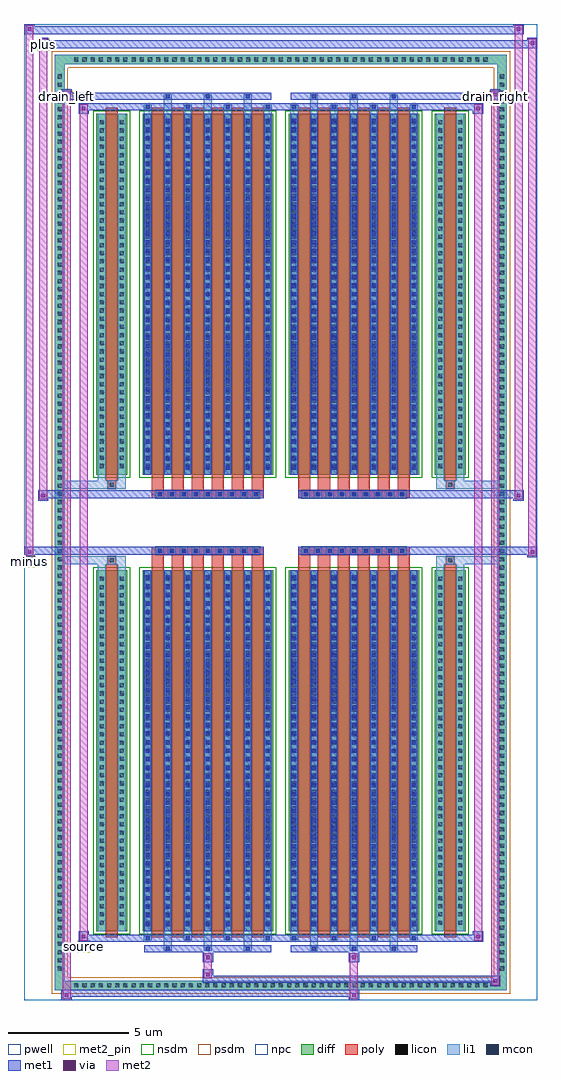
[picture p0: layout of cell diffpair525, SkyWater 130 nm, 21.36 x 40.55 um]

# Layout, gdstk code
import gdstk
lib = gdstk.Library(unit=1e-6, precision=5e-09)
def R(c, l, rs):  # rectangles x0, y0, x1, y1
    for r in rs: c.add(gdstk.rectangle(r[:2], r[2:], *l))
def A(c, l, x, y, w, h, nx, ny, dx, dy):  # array of equal rectangles
    R(c, l, [(x+i*dx, y+j*dy, x+i*dx+w, y+j*dy+h) for i in range(nx) for j in range(ny)])
def P(c, l, *ps):  # polygons
    for p in ps: c.add(gdstk.Polygon(p, *l))
pwell = (64, 44)
diff = (65, 20)
poly = (66, 20)
licon = (66, 44)
li1 = (67, 20)
mcon = (67, 44)
met1 = (68, 20)
via = (68, 44)
met2_pin = (69, 16)
met2 = (69, 20)
nsdm = (93, 44)
psdm = (94, 20)
npc = (95, 20)

diffpair525 = lib.new_cell('diffpair525')
R(diffpair525, pwell, [(-10.66,-19.84,10.66,20.71), (-7.98,-18.03,-0.01,-0.805), (0.01,-18.03,7.98,-0.805), (-7.98,0.805,-0.01,18.03), (0.01,0.805,7.98,18.03)])
A(diffpair525, diff, -8.705, -19.44, 0.41, 0.41, 51, 2, 0.34, 38.47)
A(diffpair525, diff, -9.39, -18.735, 0.41, 0.41, 1, 110, 0, 0.34)
A(diffpair525, diff, 8.98, -18.735, 0.41, 0.41, 1, 110, 0, 0.34)
R(diffpair525, diff, [(-8.705,-19.44,8.705,-19.03), (-9.39,-18.735,-8.98,18.735), (8.98,-18.735,9.39,18.735), (-7.67,-16.985,-6.39,-1.985), (-5.75,-16.985,-0.32,-1.985), (0.32,-16.985,5.75,-1.985), (6.39,-16.985,7.67,-1.985), (-7.67,1.985,-6.39,16.985), (-5.75,1.985,-0.32,16.985), (0.32,1.985,5.75,16.985), (6.39,1.985,7.67,16.985), (-8.705,19.03,8.705,19.44)])
P(diffpair525, diff, [(9.39,19.44),(-9.39,19.44),(-9.39,-19.03),(-8.98,-19.03),(-8.98,19.03),(8.98,19.03),(8.98,-19.03),(-8.98,-19.03),(-9.39,-19.03),(-9.39,-19.44),(9.39,-19.44)])
A(diffpair525, poly, -5.36, -17.235, 0.5, 15.5, 6, 2, 0.83, 18.97)
A(diffpair525, poly, 0.71, -17.235, 0.5, 15.5, 6, 2, 0.83, 18.97)
A(diffpair525, poly, -5.36, -1.735, 0.5, 0.4, 6, 2, 0.83, 3.07)
A(diffpair525, poly, 0.71, -1.735, 0.5, 0.4, 6, 2, 0.83, 3.07)
A(diffpair525, poly, -5.2, -1.335, 0.33, 0.33, 9, 2, 0.5, 2.34)
A(diffpair525, poly, 0.87, -1.335, 0.33, 0.33, 9, 2, 0.5, 2.34)
R(diffpair525, poly, [(-7.28,-17.235,-6.78,-1.735), (6.78,-17.235,7.28,-1.735), (-7.195,-1.735,-6.865,-1.405), (-7.195,-1.735,-6.865,-1.405), (6.865,-1.735,7.195,-1.405), (6.865,-1.735,7.195,-1.405), (-5.36,-1.335,-0.71,-1.005), (0.71,-1.335,5.36,-1.005), (-5.36,1.005,-0.71,1.335), (0.71,1.005,5.36,1.335), (-7.195,1.405,-6.865,1.735), (-7.195,1.405,-6.865,1.735), (6.865,1.405,7.195,1.735), (6.865,1.405,7.195,1.735), (-7.28,1.735,-6.78,17.235), (6.78,1.735,7.28,17.235)])
A(diffpair525, licon, -8.585, -19.32, 0.17, 0.17, 51, 2, 0.34, 38.47)
A(diffpair525, licon, -9.27, -18.615, 0.17, 0.17, 1, 110, 0, 0.34)
A(diffpair525, licon, 9.1, -18.615, 0.17, 0.17, 1, 110, 0, 0.34)
A(diffpair525, licon, -7.53, -16.71, 0.17, 0.17, 1, 43, 0, 0.34)
A(diffpair525, licon, -6.7, -16.71, 0.17, 0.17, 1, 43, 0, 0.34)
A(diffpair525, licon, -5.61, -16.71, 0.17, 0.17, 7, 43, 0.83, 0.34)
A(diffpair525, licon, 0.46, -16.71, 0.17, 0.17, 7, 43, 0.83, 0.34)
A(diffpair525, licon, 6.53, -16.71, 0.17, 0.17, 1, 43, 0, 0.34)
A(diffpair525, licon, 7.36, -16.71, 0.17, 0.17, 1, 43, 0, 0.34)
A(diffpair525, licon, -5.12, -1.255, 0.17, 0.17, 9, 2, 0.5, 2.34)
A(diffpair525, licon, 0.95, -1.255, 0.17, 0.17, 9, 2, 0.5, 2.34)
A(diffpair525, licon, -7.53, 2.26, 0.17, 0.17, 1, 43, 0, 0.34)
A(diffpair525, licon, -6.7, 2.26, 0.17, 0.17, 1, 43, 0, 0.34)
A(diffpair525, licon, -5.61, 2.26, 0.17, 0.17, 7, 43, 0.83, 0.34)
A(diffpair525, licon, 0.46, 2.26, 0.17, 0.17, 7, 43, 0.83, 0.34)
A(diffpair525, licon, 6.53, 2.26, 0.17, 0.17, 1, 43, 0, 0.34)
A(diffpair525, licon, 7.36, 2.26, 0.17, 0.17, 1, 43, 0, 0.34)
R(diffpair525, licon, [(-7.115,-1.655,-6.945,-1.485), (6.945,-1.655,7.115,-1.485), (-7.115,1.485,-6.945,1.655), (6.945,1.485,7.115,1.655)])
A(diffpair525, li1, -8.665, -19.4, 0.33, 0.33, 51, 2, 0.34, 38.47)
A(diffpair525, li1, -9.35, -18.695, 0.33, 0.33, 1, 110, 0, 0.34)
A(diffpair525, li1, 9.02, -18.695, 0.33, 0.33, 1, 110, 0, 0.34)
A(diffpair525, li1, -4.86, -17.79, 0.33, 0.805, 3, 2, 1.66, 34.775)
A(diffpair525, li1, -4.78, -17.79, 0.17, 0.17, 3, 2, 1.66, 35.41)
A(diffpair525, li1, 1.21, -17.79, 0.33, 0.805, 3, 2, 1.66, 34.775)
A(diffpair525, li1, 1.29, -17.79, 0.17, 0.17, 3, 2, 1.66, 35.41)
A(diffpair525, li1, -5.69, -17.36, 0.33, 0.375, 4, 2, 1.66, 34.345)
A(diffpair525, li1, -5.61, -17.36, 0.17, 0.17, 4, 2, 1.66, 34.55)
A(diffpair525, li1, 0.38, -17.36, 0.33, 0.375, 4, 2, 1.66, 34.345)
A(diffpair525, li1, 0.46, -17.36, 0.17, 0.17, 4, 2, 1.66, 34.55)
A(diffpair525, li1, -5.69, -16.985, 0.33, 15, 7, 2, 0.83, 18.97)
A(diffpair525, li1, 0.38, -16.985, 0.33, 15, 7, 2, 0.83, 18.97)
A(diffpair525, li1, -7.61, -16.79, 0.33, 0.33, 1, 43, 0, 0.34)
A(diffpair525, li1, -6.78, -16.79, 0.33, 0.33, 1, 43, 0, 0.34)
A(diffpair525, li1, -5.69, -16.79, 0.33, 0.33, 7, 43, 0.83, 0.34)
A(diffpair525, li1, 0.38, -16.79, 0.33, 0.33, 7, 43, 0.83, 0.34)
A(diffpair525, li1, 6.45, -16.79, 0.33, 0.33, 1, 43, 0, 0.34)
A(diffpair525, li1, 7.28, -16.79, 0.33, 0.33, 1, 43, 0, 0.34)
A(diffpair525, li1, -5.61, -16.77, 0.17, 0.17, 7, 41, 0.83, 0.36)
A(diffpair525, li1, -5.61, -16.77, 0.17, 14.57, 7, 2, 0.83, 18.97)
A(diffpair525, li1, 0.46, -16.77, 0.17, 0.17, 7, 41, 0.83, 0.36)
A(diffpair525, li1, 0.46, -16.77, 0.17, 14.57, 7, 2, 0.83, 18.97)
A(diffpair525, li1, -5.2, -1.335, 0.33, 0.33, 9, 2, 0.5, 2.34)
A(diffpair525, li1, 0.87, -1.335, 0.33, 0.33, 9, 2, 0.5, 2.34)
A(diffpair525, li1, -7.61, 2.18, 0.33, 0.33, 1, 43, 0, 0.34)
A(diffpair525, li1, -6.78, 2.18, 0.33, 0.33, 1, 43, 0, 0.34)
A(diffpair525, li1, -5.69, 2.18, 0.33, 0.33, 7, 43, 0.83, 0.34)
A(diffpair525, li1, 0.38, 2.18, 0.33, 0.33, 7, 43, 0.83, 0.34)
A(diffpair525, li1, 6.45, 2.18, 0.33, 0.33, 1, 43, 0, 0.34)
A(diffpair525, li1, 7.28, 2.18, 0.33, 0.33, 1, 43, 0, 0.34)
A(diffpair525, li1, -5.61, 2.2, 0.17, 0.17, 7, 41, 0.83, 0.36)
A(diffpair525, li1, 0.46, 2.2, 0.17, 0.17, 7, 41, 0.83, 0.36)
R(diffpair525, li1, [(-9.39,-19.44,-8.98,-19.03), (-9.39,-19.44,-8.98,-19.03), (-8.98,-19.44,8.98,-19.03), (8.98,-19.44,9.39,-19.03), (8.98,-19.44,9.39,-19.03), (-9.39,-19.03,-8.98,19.03), (8.98,-19.03,9.39,19.03), (-7.61,-16.985,-7.28,-1.985), (-6.78,-16.985,-6.45,-1.985), (6.45,-16.985,6.78,-1.985), (7.28,-16.985,7.61,-1.985), (-7.61,-1.985,-7.28,-1.405), (-6.78,-1.985,-6.45,-1.405), (6.45,-1.985,6.78,-1.405), (7.28,-1.985,7.61,-1.405), (-9.39,-1.735,-7.195,-1.405), (-7.61,-1.735,-7.195,-1.405), (-7.195,-1.735,-6.865,-1.405), (-6.865,-1.735,-6.45,-1.405), (6.45,-1.735,6.865,-1.405), (6.865,-1.735,7.195,-1.405), (6.865,-1.735,9.39,-1.405), (7.195,-1.735,7.61,-1.405), (-9.39,1.405,-7.195,1.735), (-7.61,1.405,-7.195,1.735), (-7.61,1.405,-7.28,1.985), (-7.195,1.405,-6.865,1.735), (-6.865,1.405,-6.45,1.735), (-6.78,1.405,-6.45,1.985), (6.45,1.405,6.865,1.735), (6.45,1.405,6.78,1.985), (6.865,1.405,7.195,1.735), (6.865,1.405,9.39,1.735), (7.195,1.405,7.61,1.735), (7.28,1.405,7.61,1.985), (-7.61,1.985,-7.28,16.985), (-6.78,1.985,-6.45,16.985), (6.45,1.985,6.78,16.985), (7.28,1.985,7.61,16.985), (-9.39,19.03,-8.98,19.44), (-9.39,19.03,-8.98,19.44), (-8.98,19.03,8.98,19.44), (8.98,19.03,9.39,19.44), (8.98,19.03,9.39,19.44)])
A(diffpair525, mcon, -4.78, -17.79, 0.17, 0.17, 3, 2, 1.66, 35.41)
A(diffpair525, mcon, 1.29, -17.79, 0.17, 0.17, 3, 2, 1.66, 35.41)
A(diffpair525, mcon, -5.61, -17.36, 0.17, 0.17, 4, 2, 1.66, 34.55)
A(diffpair525, mcon, 0.46, -17.36, 0.17, 0.17, 4, 2, 1.66, 34.55)
A(diffpair525, mcon, -5.61, -16.77, 0.17, 0.17, 7, 41, 0.83, 0.36)
A(diffpair525, mcon, 0.46, -16.77, 0.17, 0.17, 7, 41, 0.83, 0.36)
A(diffpair525, mcon, -5.12, -1.255, 0.17, 0.17, 9, 2, 0.5, 2.34)
A(diffpair525, mcon, 0.95, -1.255, 0.17, 0.17, 9, 2, 0.5, 2.34)
A(diffpair525, mcon, -5.61, 2.2, 0.17, 0.17, 7, 41, 0.83, 0.36)
A(diffpair525, mcon, 0.46, 2.2, 0.17, 0.17, 7, 41, 0.83, 0.36)
A(diffpair525, met1, -4.84, -17.85, 0.29, 0.29, 3, 2, 1.66, 35.41)
A(diffpair525, met1, 1.23, -17.85, 0.29, 0.29, 3, 2, 1.66, 35.41)
A(diffpair525, met1, -5.67, -17.42, 0.29, 0.29, 4, 2, 1.66, 34.55)
A(diffpair525, met1, 0.4, -17.42, 0.29, 0.29, 4, 2, 1.66, 34.55)
A(diffpair525, met1, -5.67, -16.985, 0.29, 15, 7, 2, 0.83, 18.97)
A(diffpair525, met1, 0.4, -16.985, 0.29, 15, 7, 2, 0.83, 18.97)
A(diffpair525, met1, -5.67, -16.83, 0.29, 0.29, 7, 41, 0.83, 0.36)
A(diffpair525, met1, 0.4, -16.83, 0.29, 0.29, 7, 41, 0.83, 0.36)
A(diffpair525, met1, -5.18, -1.315, 0.29, 0.29, 9, 2, 0.5, 2.34)
A(diffpair525, met1, 0.89, -1.315, 0.29, 0.29, 9, 2, 0.5, 2.34)
A(diffpair525, met1, -5.67, 2.14, 0.29, 0.29, 7, 41, 0.83, 0.36)
A(diffpair525, met1, 0.4, 2.14, 0.29, 0.29, 7, 41, 0.83, 0.36)
R(diffpair525, met1, [(-9.12,-19.84,-8.69,-19.41), (2.82,-19.84,3.25,-19.41), (-9.12,-19.7,3.25,-19.41), (8.69,-19.27,9.12,-18.84), (-3.25,-19.13,9.12,-18.84), (-3.25,-18.99,-2.82,-18.56), (-3.25,-18.28,-2.82,-17.85), (2.82,-18.28,3.25,-17.85), (-5.67,-17.85,-0.4,-17.56), (0.4,-17.85,5.67,-17.56), (-8.41,-17.42,-7.98,-16.99), (-8.41,-17.42,-5.67,-17.13), (-5.67,-17.42,-0.4,-17.13), (-0.4,-17.42,0.4,-17.13), (0.4,-17.42,5.67,-17.13), (5.67,-17.42,8.41,-17.13), (7.98,-17.42,8.41,-16.99), (-10.66,-1.435,-10.23,-1.005), (10.23,-1.435,10.66,-1.005), (-10.66,-1.335,-0.71,-1.005), (-5.36,-1.335,-0.71,-1.005), (0.71,-1.335,5.36,-1.005), (0.71,-1.335,10.66,-1.005), (-10.09,0.905,-9.66,1.335), (9.66,0.905,10.09,1.335), (-10.09,1.005,-5.36,1.335), (-5.36,1.005,-0.71,1.335), (0.71,1.005,5.36,1.335), (5.36,1.005,10.09,1.335), (-8.41,16.99,-7.98,17.42), (7.98,16.99,8.41,17.42), (-8.41,17.13,-5.67,17.42), (-5.67,17.13,-0.4,17.42), (-0.4,17.13,0.4,17.42), (0.4,17.13,5.67,17.42), (5.67,17.13,8.41,17.42), (-9.12,17.56,-8.69,17.99), (-9.12,17.56,-5.67,17.85), (-5.67,17.56,-0.4,17.85), (0.4,17.56,5.67,17.85), (5.67,17.56,9.12,17.85), (8.69,17.56,9.12,17.99), (-10.09,19.71,-9.66,20.14), (-10.09,19.71,-7.98,20.04), (-7.98,19.71,7.98,20.04), (7.98,19.71,10.66,20.04), (10.23,19.71,10.66,20.14), (-10.66,20.28,-10.23,20.71), (-10.66,20.28,-7.98,20.61), (-7.98,20.28,7.98,20.61), (7.98,20.28,10.09,20.61), (9.66,20.28,10.09,20.71)])
R(diffpair525, via, [(-8.98,-19.7,-8.83,-19.55), (2.96,-19.7,3.11,-19.55), (8.83,-19.13,8.98,-18.98), (-3.11,-18.85,-2.96,-18.7), (-3.11,-18.14,-2.96,-17.99), (2.96,-18.14,3.11,-17.99), (-8.27,-17.28,-8.12,-17.13), (8.12,-17.28,8.27,-17.13), (-10.52,-1.295,-10.37,-1.145), (10.37,-1.295,10.52,-1.145), (-9.95,1.045,-9.8,1.195), (9.8,1.045,9.95,1.195), (-8.27,17.13,-8.12,17.28), (8.12,17.13,8.27,17.28), (-8.98,17.7,-8.83,17.85), (8.83,17.7,8.98,17.85), (-9.95,19.85,-9.8,20), (10.37,19.85,10.52,20), (-10.52,20.42,-10.37,20.57), (9.8,20.42,9.95,20.57)])
R(diffpair525, met2_pin, [(-8.445,-17.87,-7.945,-17.37), (-10.695,-1.885,-10.195,-1.385), (-9.155,17.44,-8.655,17.94), (8.655,17.44,9.155,17.94), (-10.125,19.59,-9.625,20.09)])
R(diffpair525, met2, [(-9.07,-19.79,-8.74,-19.46), (-9.07,-19.79,-8.74,17.94), (2.87,-19.79,3.2,-19.46), (2.87,-19.46,3.2,-18.23), (8.74,-19.22,9.07,-18.89), (8.74,-19.22,9.07,17.94), (-3.2,-18.94,-2.87,-18.61), (-3.2,-18.61,-2.87,-18.23), (-3.2,-18.23,-2.87,-17.9), (2.87,-18.23,3.2,-17.9), (-8.36,-17.37,-8.03,-17.04), (-8.36,-17.37,-8.03,17.37), (8.03,-17.37,8.36,-17.04), (8.03,-17.37,8.36,17.37), (-10.61,-1.385,-10.28,-1.055), (-10.61,-1.385,-10.28,20.66), (10.28,-1.385,10.61,-1.055), (10.28,-1.385,10.61,20.09), (-10.04,0.955,-9.71,1.285), (-10.04,0.955,-9.71,20.09), (9.71,0.955,10.04,1.285), (9.71,0.955,10.04,20.66), (-8.36,17.04,-8.03,17.37), (8.03,17.04,8.36,17.37), (-9.07,17.61,-8.74,17.94), (8.74,17.61,9.07,17.94), (-10.04,19.76,-9.71,20.09), (10.28,19.76,10.61,20.09), (-10.61,20.33,-10.28,20.66), (9.71,20.33,10.04,20.66)])
P(diffpair525, met2, [(10.61,-1.385),(10.61,-1.385),(10.61,-1.055),(10.61,-1.055)],
  [(10.61,19.76),(10.61,19.76),(10.61,20.09),(10.61,20.09)],
  [(-10.28,-1.385),(-10.28,-1.385),(-10.28,-1.055),(-10.28,-1.055)],
  [(-10.28,20.33),(-10.28,20.33),(-10.28,20.66),(-10.28,20.66)],
  [(10.04,0.955),(10.04,0.955),(10.04,1.285),(10.04,1.285)],
  [(10.04,20.33),(10.04,20.33),(10.04,20.66),(10.04,20.66)],
  [(-9.71,0.955),(-9.71,0.955),(-9.71,1.285),(-9.71,1.285)],
  [(-9.71,19.76),(-9.71,19.76),(-9.71,20.09),(-9.71,20.09)],
  [(-8.74,-19.79),(-8.74,-19.79),(-8.74,-19.46),(-8.74,-19.46)],
  [(-8.74,17.61),(-8.74,17.61),(-8.74,17.94),(-8.74,17.94)],
  [(9.07,-19.22),(9.07,-19.22),(9.07,-18.89),(9.07,-18.89)],
  [(9.07,17.61),(9.07,17.61),(9.07,17.94),(9.07,17.94)],
  [(-8.03,-17.37),(-8.03,-17.37),(-8.03,-17.04),(-8.03,-17.04)],
  [(-8.03,17.04),(-8.03,17.04),(-8.03,17.37),(-8.03,17.37)],
  [(8.36,-17.37),(8.36,-17.37),(8.36,-17.04),(8.36,-17.04)],
  [(8.36,17.04),(8.36,17.04),(8.36,17.37),(8.36,17.37)])
R(diffpair525, nsdm, [(-7.8,-17.115,-6.26,-1.855), (-5.88,-17.115,-0.19,-1.855), (0.19,-17.115,5.88,-1.855), (6.26,-17.115,7.8,-1.855), (-7.8,1.855,-6.26,17.115), (-5.88,1.855,-0.19,17.115), (0.19,1.855,5.88,17.115), (6.26,1.855,7.8,17.115)])
P(diffpair525, psdm, [(9.52,19.57),(-9.52,19.57),(-9.52,-18.9),(-8.85,-18.9),(-8.85,18.9),(8.85,18.9),(8.85,-18.9),(-8.85,-18.9),(-9.52,-18.9),(-9.52,-19.57),(9.52,-19.57)])
A(diffpair525, npc, -5.22, -1.355, 0.37, 0.37, 9, 2, 0.5, 2.34)
A(diffpair525, npc, 0.85, -1.355, 0.37, 0.37, 9, 2, 0.5, 2.34)
R(diffpair525, npc, [(-7.215,-1.755,-6.845,-1.385), (6.845,-1.755,7.215,-1.385), (-5.22,-1.355,-4.35,-0.985), (-5.22,-1.355,-4.35,-0.985), (-4.72,-1.355,-3.85,-0.985), (-4.72,-1.355,-3.85,-0.985), (-4.22,-1.355,-3.35,-0.985), (-4.22,-1.355,-3.35,-0.985), (-3.72,-1.355,-2.85,-0.985), (-3.72,-1.355,-2.85,-0.985), (-3.22,-1.355,-2.35,-0.985), (-3.22,-1.355,-2.35,-0.985), (-2.72,-1.355,-1.85,-0.985), (-2.72,-1.355,-1.85,-0.985), (-2.22,-1.355,-1.35,-0.985), (-2.22,-1.355,-1.35,-0.985), (-1.72,-1.355,-0.85,-0.985), (-1.72,-1.355,-0.85,-0.985), (0.85,-1.355,1.72,-0.985), (0.85,-1.355,1.72,-0.985), (1.35,-1.355,2.22,-0.985), (1.35,-1.355,2.22,-0.985), (1.85,-1.355,2.72,-0.985), (1.85,-1.355,2.72,-0.985), (2.35,-1.355,3.22,-0.985), (2.35,-1.355,3.22,-0.985), (2.85,-1.355,3.72,-0.985), (2.85,-1.355,3.72,-0.985), (3.35,-1.355,4.22,-0.985), (3.35,-1.355,4.22,-0.985), (3.85,-1.355,4.72,-0.985), (3.85,-1.355,4.72,-0.985), (4.35,-1.355,5.22,-0.985), (4.35,-1.355,5.22,-0.985), (-5.22,0.985,-4.35,1.355), (-5.22,0.985,-4.35,1.355), (-4.72,0.985,-3.85,1.355), (-4.72,0.985,-3.85,1.355), (-4.22,0.985,-3.35,1.355), (-4.22,0.985,-3.35,1.355), (-3.72,0.985,-2.85,1.355), (-3.72,0.985,-2.85,1.355), (-3.22,0.985,-2.35,1.355), (-3.22,0.985,-2.35,1.355), (-2.72,0.985,-1.85,1.355), (-2.72,0.985,-1.85,1.355), (-2.22,0.985,-1.35,1.355), (-2.22,0.985,-1.35,1.355), (-1.72,0.985,-0.85,1.355), (-1.72,0.985,-0.85,1.355), (0.85,0.985,1.72,1.355), (0.85,0.985,1.72,1.355), (1.35,0.985,2.22,1.355), (1.35,0.985,2.22,1.355), (1.85,0.985,2.72,1.355), (1.85,0.985,2.72,1.355), (2.35,0.985,3.22,1.355), (2.35,0.985,3.22,1.355), (2.85,0.985,3.72,1.355), (2.85,0.985,3.72,1.355), (3.35,0.985,4.22,1.355), (3.35,0.985,4.22,1.355), (3.85,0.985,4.72,1.355), (3.85,0.985,4.72,1.355), (4.35,0.985,5.22,1.355), (4.35,0.985,5.22,1.355), (-7.215,1.385,-6.845,1.755), (6.845,1.385,7.215,1.755)])
diffpair525.add(gdstk.Label('minus', (-10.445,-1.635), layer=69, texttype=5))
diffpair525.add(gdstk.Label('drain_right', (8.905,17.69), layer=69, texttype=5))
diffpair525.add(gdstk.Label('drain_left', (-8.905,17.69), layer=69, texttype=5))
diffpair525.add(gdstk.Label('source', (-8.195,-17.62), layer=69, texttype=5))
diffpair525.add(gdstk.Label('plus', (-9.875,19.84), layer=69, texttype=5))

lib.write_gds('diffpair525.gds')
